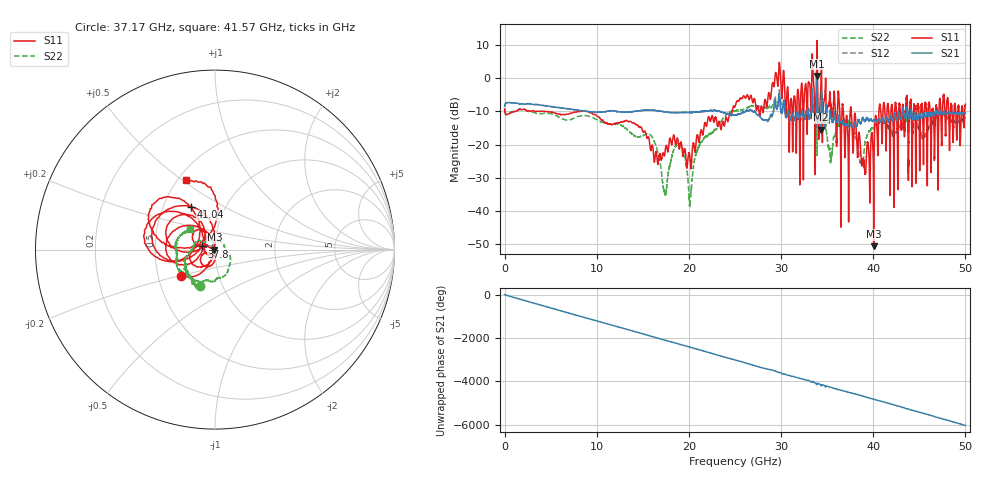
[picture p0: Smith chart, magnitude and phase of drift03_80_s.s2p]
!Created with skrf (http://scikit-rf.org).
# Hz S RI R 50.0
!freq ReS11 ImS11 ReS21 ImS21 ReS12 ImS12 ReS22 ImS22
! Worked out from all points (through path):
!   10001 points, 300 kHz to 50 GHz, reference 50 ohm
!   highest |S21| = 0.73 dB at 33.9 GHz (marker M1); lowest = -15.5 dB at 34.32 GHz (marker M2)
!   group delay of S21, straight-line fit = 335 ps
!   lowest |S11| = -50.7 dB at 40.05 GHz (marker M3), VSWR 1.01, Z = 49.7 - j0.0627 ohm
!   |S11| at or under -10 dB: 4.46 GHz to 7.97 GHz (3.51 GHz wide, 56.5 % of centre); 9.019 GHz to 24.7 GHz (15.68 GHz wide, 93 % of centre); 37.62 GHz to 40.62 GHz (2.999 GHz wide, 7.67 % of centre) (the widest 3 of 60)
!   |S22| runs from -38.9 to -5.9 dB; largest |S21 - S12| = 0.11
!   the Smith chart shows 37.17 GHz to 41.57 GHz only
!   S11 on the Smith chart (normalised r, x): 37.17 GHz: 0.66, -0.20; 37.8 GHz: 0.86, +0.03; 41.04 GHz: 0.69, +0.35; 41.57 GHz: 0.55, +0.52
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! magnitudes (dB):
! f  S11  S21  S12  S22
! 300 kHz  -9.2  -8.4  -8.5  -9.4
! 8.335 GHz  -9.9  -9.8  -9.8  -11.3
! 16.67 GHz  -25.4  -9.8  -9.8  -23.0
! 17.41 GHz  -22.3  -10.1  -10.1  -34.9
! 19.1 GHz  -19.5  -10.3  -10.3  -20.2
! 20.13 GHz  -24.8  -10.3  -10.3  -37.2
! 21.19 GHz  -17.9  -10.1  -10.1  -19.8
! 25 GHz  -8.6  -11.1  -11.1  -9.8
! 29.66 GHz  -2.3  -8.3  -8.4  -7.1
! 31.08 GHz  -6.2  -12.7  -12.7  -10.5
! 33.34 GHz  0.4  -7.6  -7.6  -9.4
! 33.9 GHz  11.4  0.7  0.3  -23.3
! 34.32 GHz  -2.9  -15.5  -14.9  -11.2
! 35.35 GHz  -7.1  -10.9  -10.4  -25.3
! 37.17 GHz  -12.4  -14.1  -14.1  -13.3
! 37.8 GHz  -22.4  -14.7  -14.6  -14.6
! 38.71 GHz  -25.0  -13.4  -13.2  -25.4
! 40.05 GHz  -50.7  -12.7  -12.8  -15.1
! 41.04 GHz  -11.4  -12.1  -12.0  -13.3
! 41.57 GHz  -7.6  -12.6  -12.6  -14.9
! 41.67 GHz  -9.5  -13.3  -13.2  -14.7
! 50 GHz  -7.8  -10.5  -10.6  -12.1
